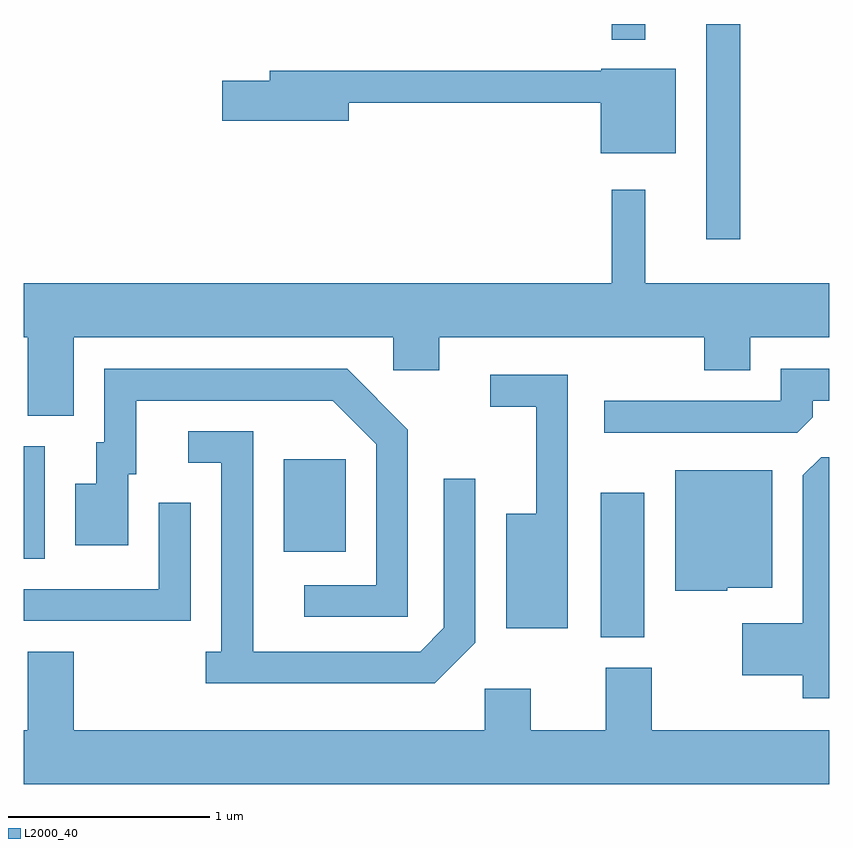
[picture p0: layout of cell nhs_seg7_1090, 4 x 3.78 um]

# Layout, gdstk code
import gdstk
lib = gdstk.Library(unit=1e-6, precision=1e-09)
def R(c, l, rs):  # rectangles x0, y0, x1, y1
    for r in rs: c.add(gdstk.rectangle(r[:2], r[2:], *l))
def P(c, l, *ps):  # polygons
    for p in ps: c.add(gdstk.Polygon(p, *l))
L2000_40 = (2000, 40)

nhs_seg7_1090 = lib.new_cell('nhs_seg7_1090')
R(nhs_seg7_1090, L2000_40, [(220.476,1777.206,220.694,1777.924), (217.611,1777.596,217.714,1778.154), (218.901,1777.631,219.209,1778.089), (221.001,1779.183,221.169,1780.252), (220.531,1780.173,220.699,1780.252)])
P(nhs_seg7_1090, L2000_40, [(220.849,1780.029),(220.48,1780.029),(220.48,1780.019),(218.831,1780.019),(218.831,1779.969),(218.596,1779.969),(218.596,1779.771),(219.224,1779.771),(219.224,1779.861),(220.476,1779.861),(220.476,1779.611),(220.849,1779.611)],
  [(217.859,1778.696),(219.446,1778.696),(219.446,1778.531),(219.674,1778.531),(219.674,1778.696),(220.991,1778.696),(220.991,1778.531),(221.219,1778.531),(221.219,1778.696),(221.611,1778.696),(221.611,1778.964),(220.699,1778.964),(220.699,1779.428),(220.531,1779.428),(220.531,1778.964),(217.611,1778.964),(217.611,1778.696),(217.631,1778.696),(217.631,1778.306),(217.859,1778.306)],
  [(221.529,1778.297),(221.529,1778.381),(221.611,1778.381),(221.611,1778.539),(221.371,1778.539),(221.371,1778.379),(220.493,1778.379),(220.493,1778.221),(221.454,1778.221)],
  [(219.519,1778.237),(219.217,1778.539),(218.011,1778.539),(218.011,1778.174),(217.971,1778.174),(217.971,1777.969),(217.866,1777.969),(217.866,1777.661),(218.129,1777.661),(218.129,1778.016),(218.169,1778.016),(218.169,1778.381),(219.144,1778.381),(219.361,1778.164),(219.361,1777.464),(219.003,1777.464),(219.003,1777.306),(219.519,1777.306)],
  [(220.314,1778.509),(219.928,1778.509),(219.928,1778.351),(220.156,1778.351),(220.156,1777.819),(220.006,1777.819),(220.006,1777.251),(220.314,1777.251)],
  [(219.854,1777.179),(219.854,1777.993),(219.696,1777.993),(219.696,1777.252),(219.579,1777.134),(218.749,1777.134),(218.749,1778.229),(218.428,1778.229),(218.428,1778.071),(218.591,1778.071),(218.591,1777.134),(218.513,1777.134),(218.513,1776.976),(219.652,1776.976)],
  [(221.611,1778.099),(221.572,1778.099),(221.481,1778.009),(221.481,1777.274),(221.181,1777.274),(221.181,1777.016),(221.481,1777.016),(221.481,1776.901),(221.611,1776.901)],
  [(221.105,1777.451),(221.329,1777.451),(221.329,1778.034),(220.846,1778.034),(220.846,1777.436),(221.105,1777.436)],
  [(218.439,1777.873),(218.281,1777.873),(218.281,1777.444),(217.611,1777.444),(217.611,1777.286),(218.439,1777.286)],
  [(221.611,1776.744),(220.729,1776.744),(220.729,1777.054),(220.501,1777.054),(220.501,1776.744),(220.129,1776.744),(220.129,1776.949),(219.901,1776.949),(219.901,1776.744),(217.859,1776.744),(217.859,1777.134),(217.631,1777.134),(217.631,1776.744),(217.611,1776.744),(217.611,1776.476),(221.611,1776.476)])

lib.write_gds('nhs_seg7_1090.gds')
